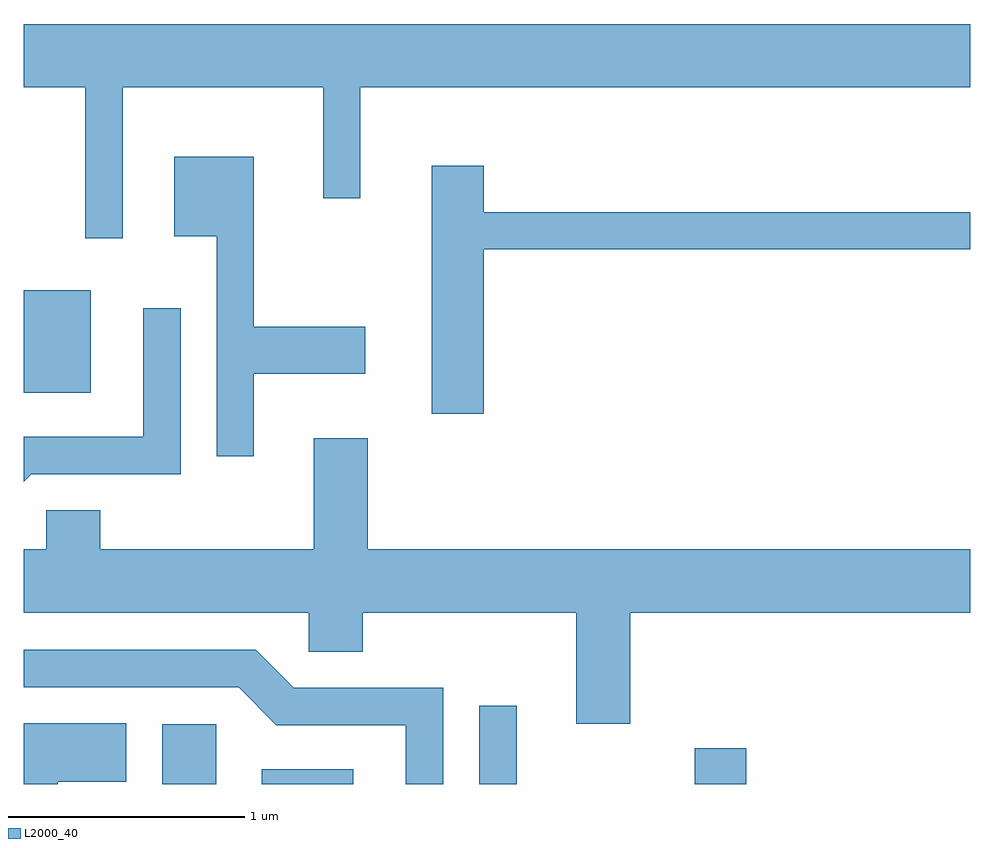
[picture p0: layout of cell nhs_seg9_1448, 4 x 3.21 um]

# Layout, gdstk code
import gdstk
lib = gdstk.Library(unit=1e-6, precision=1e-09)
def R(c, l, rs):  # rectangles x0, y0, x1, y1
    for r in rs: c.add(gdstk.rectangle(r[:2], r[2:], *l))
def P(c, l, *ps):  # polygons
    for p in ps: c.add(gdstk.Polygon(p, *l))
L2000_40 = (2000, 40)

nhs_seg9_1448 = lib.new_cell('nhs_seg9_1448')
R(nhs_seg9_1448, L2000_40, [(228.196,1984.432,228.424,1984.684), (228.616,1984.432,229.004,1984.494), (229.536,1984.432,229.694,1984.763), (230.446,1984.432,230.664,1984.584), (227.611,1986.086,227.894,1986.519)])
P(nhs_seg9_1448, L2000_40, [(228.029,1987.376),(228.876,1987.376),(228.876,1986.908),(229.034,1986.908),(229.034,1987.376),(231.611,1987.376),(231.611,1987.644),(227.611,1987.644),(227.611,1987.376),(227.871,1987.376),(227.871,1986.738),(228.029,1986.738)],
  [(228.584,1986.166),(229.054,1986.166),(229.054,1986.364),(228.584,1986.364),(228.584,1987.084),(228.246,1987.084),(228.246,1986.746),(228.426,1986.746),(228.426,1985.818),(228.584,1985.818)],
  [(229.554,1986.691),(231.611,1986.691),(231.611,1986.849),(229.554,1986.849),(229.554,1987.044),(229.336,1987.044),(229.336,1985.996),(229.554,1985.996)],
  [(227.642,1985.741),(228.274,1985.741),(228.274,1986.443),(228.116,1986.443),(228.116,1985.899),(227.611,1985.899),(227.611,1985.71)],
  [(230.174,1985.156),(231.611,1985.156),(231.611,1985.424),(229.064,1985.424),(229.064,1985.894),(228.836,1985.894),(228.836,1985.424),(227.934,1985.424),(227.934,1985.589),(227.706,1985.589),(227.706,1985.424),(227.611,1985.424),(227.611,1985.156),(228.816,1985.156),(228.816,1984.991),(229.044,1984.991),(229.044,1985.156),(229.946,1985.156),(229.946,1984.686),(230.174,1984.686)],
  [(229.384,1984.839),(228.752,1984.839),(228.592,1984.999),(227.611,1984.999),(227.611,1984.841),(228.519,1984.841),(228.679,1984.681),(229.226,1984.681),(229.226,1984.432),(229.384,1984.432)],
  [(227.754,1984.441),(228.044,1984.441),(228.044,1984.689),(227.611,1984.689),(227.611,1984.432),(227.754,1984.432)])

lib.write_gds('nhs_seg9_1448.gds')
